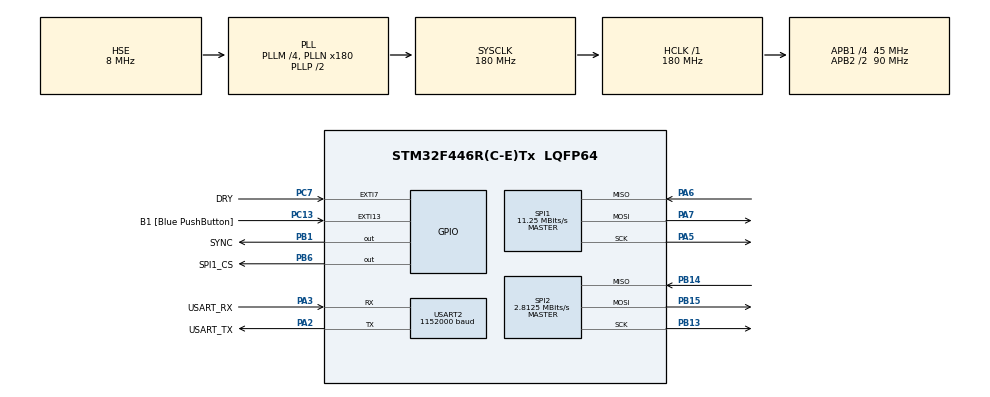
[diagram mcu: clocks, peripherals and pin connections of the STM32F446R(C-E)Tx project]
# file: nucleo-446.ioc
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Dma.Request0=USART2_RX
Dma.Request1=USART2_TX
Dma.USART2_RX.0.Direction=DMA_PERIPH_TO_MEMORY
Dma.USART2_RX.0.FIFOMode=DMA_FIFOMODE_DISABLE
Dma.USART2_RX.0.Instance=DMA1_Stream5
Dma.USART2_RX.0.MemDataAlignment=DMA_MDATAALIGN_BYTE
Dma.USART2_RX.0.MemInc=DMA_MINC_ENABLE
Dma.USART2_RX.0.Mode=DMA_CIRCULAR
Dma.USART2_RX.0.PeriphDataAlignment=DMA_PDATAALIGN_BYTE
Dma.USART2_RX.0.PeriphInc=DMA_PINC_DISABLE
Dma.USART2_RX.0.Priority=DMA_PRIORITY_HIGH
Dma.USART2_TX.1.Direction=DMA_MEMORY_TO_PERIPH
Dma.USART2_TX.1.FIFOMode=DMA_FIFOMODE_DISABLE
Dma.USART2_TX.1.Instance=DMA1_Stream6
Dma.USART2_TX.1.MemDataAlignment=DMA_MDATAALIGN_BYTE
Dma.USART2_TX.1.MemInc=DMA_MINC_ENABLE
Dma.USART2_TX.1.Mode=DMA_NORMAL
Dma.USART2_TX.1.PeriphDataAlignment=DMA_PDATAALIGN_BYTE
Dma.USART2_TX.1.PeriphInc=DMA_PINC_DISABLE
Dma.USART2_TX.1.Priority=DMA_PRIORITY_LOW
Mcu.Family=STM32F4
Mcu.Name=STM32F446R(C-E)Tx
Mcu.Package=LQFP64
NVIC.DMA1_Stream5_IRQn=true\:0\:1\:false\:false\:true\:false\:true\:true
NVIC.DMA1_Stream6_IRQn=true\:0\:2\:false\:false\:true\:false\:true\:true
NVIC.EXTI15_10_IRQn=true\:0\:2\:false\:false\:true\:true\:true\:true
NVIC.EXTI9_5_IRQn=true\:0\:0\:false\:false\:true\:true\:true\:true
NVIC.PriorityGroup=NVIC_PRIORITYGROUP_0
NVIC.TIM3_IRQn=true\:0\:0\:false\:false\:true\:true\:true\:true
NVIC.USART2_IRQn=true\:0\:2\:false\:false\:true\:true\:true\:true
PA13.GPIO_Label=TMS
PA13.Mode=Serial_Wire
PA13.Signal=SYS_JTMS-SWDIO
PA14.GPIO_Label=TCK
PA14.Mode=Serial_Wire
PA14.Signal=SYS_JTCK-SWCLK
PA2.GPIO_Label=USART_TX
PA2.Mode=Asynchronous
PA2.Signal=USART2_TX
PA3.GPIO_Label=USART_RX
PA3.Mode=Asynchronous
PA3.Signal=USART2_RX
PA5.Mode=Full_Duplex_Master
PA5.Signal=SPI1_SCK
PA6.Mode=Full_Duplex_Master
PA6.Signal=SPI1_MISO
PA7.Mode=Full_Duplex_Master
PA7.Signal=SPI1_MOSI
PB1.GPIO_Label=SYNC
PB1.PinState=GPIO_PIN_SET
PB1.Signal=GPIO_Output
PB13.Mode=Full_Duplex_Master
PB13.Signal=SPI2_SCK
PB14.Mode=Full_Duplex_Master
PB14.Signal=SPI2_MISO
PB15.Mode=Full_Duplex_Master
PB15.Signal=SPI2_MOSI
PB3.GPIO_Label=SWO
PB3.Signal=SYS_JTDO-SWO
PB6.GPIO_Label=SPI1_CS
PB6.Signal=GPIO_Output
PC13.GPIO_Label=B1 [Blue PushButton]
PC13.GPIO_ModeDefaultEXTI=GPIO_MODE_IT_FALLING
PC13.Signal=GPXTI13
PC14-OSC32_IN.Mode=LSE-External-Oscillator
PC14-OSC32_IN.Signal=RCC_OSC32_IN
PC15-OSC32_OUT.Mode=LSE-External-Oscillator
PC15-OSC32_OUT.Signal=RCC_OSC32_OUT
PC7.GPIO_Label=DRY
PC7.GPIO_ModeDefaultEXTI=GPIO_MODE_IT_FALLING
PC7.Signal=GPXTI7
PH0-OSC_IN.Mode=HSE-External-Oscillator
PH0-OSC_IN.Signal=RCC_OSC_IN
PH1-OSC_OUT.Mode=HSE-External-Oscillator
PH1-OSC_OUT.Signal=RCC_OSC_OUT
ProjectManager.HeapSize=0x200
ProjectManager.StackSize=0x400
ProjectManager.TargetToolchain=STM32CubeIDE
RCC.48MHZClocksFreq_Value=84000000
RCC.AHBFreq_Value=180000000
RCC.APB1CLKDivider=RCC_HCLK_DIV4
RCC.APB1Freq_Value=45000000
RCC.APB1TimFreq_Value=90000000
RCC.APB2CLKDivider=RCC_HCLK_DIV2
RCC.APB2Freq_Value=90000000
RCC.APB2TimFreq_Value=180000000
RCC.CortexFreq_Value=180000000
RCC.FLatency-AdvancedSettings=FLASH_LATENCY_5
RCC.HCLKFreq_Value=180000000
RCC.HSE_VALUE=8000000
RCC.HSI_VALUE=16000000
RCC.PLLM=4
RCC.PLLN=180
RCC.PLLQ=6
RCC.PLLSAIM=4
RCC.PLLSAIN=96
RCC.PLLSAIP=RCC_PLLSAIP_DIV4
RCC.PLLSourceVirtual=RCC_PLLSOURCE_HSE
RCC.PREFETCH_ENABLE=0
RCC.SYSCLKFreq_VALUE=180000000
RCC.SYSCLKSource=RCC_SYSCLKSOURCE_PLLCLK
RCC.USBCLockSelection=RCC_CLK48CLKSOURCE_PLLSAIP
RCC.USBFreq_Value=48000000
RCC.VCOOutputFreq_Value=360000000
SPI1.BaudRatePrescaler=SPI_BAUDRATEPRESCALER_8
SPI1.CLKPhase=SPI_PHASE_2EDGE
SPI1.CLKPolarity=SPI_POLARITY_HIGH
SPI1.CalculateBaudRate=11.25 MBits/s
SPI1.Direction=SPI_DIRECTION_2LINES
SPI1.Mode=SPI_MODE_MASTER
SPI1.VirtualType=VM_MASTER
SPI2.BaudRatePrescaler=SPI_BAUDRATEPRESCALER_16
SPI2.CLKPhase=SPI_PHASE_2EDGE
SPI2.CalculateBaudRate=2.8125 MBits/s
SPI2.Direction=SPI_DIRECTION_2LINES
SPI2.Mode=SPI_MODE_MASTER
SPI2.VirtualType=VM_MASTER
TIM2.AutoReloadPreload=TIM_AUTORELOAD_PRELOAD_ENABLE
TIM2.Prescaler=90-1
TIM3.AutoReloadPreload=TIM_AUTORELOAD_PRELOAD_ENABLE
TIM3.Period=1000-1
TIM3.Prescaler=90-1
TIM3.TIM_MasterOutputTrigger=TIM_TRGO_UPDATE
USART2.BaudRate=1152000
USART2.Parity=PARITY_NONE
USART2.VirtualMode=VM_ASYNC
VP_TIM2_VS_ClockSourceINT.Mode=Internal
VP_TIM3_VS_ClockSourceINT.Mode=Internal
board=NUCLEO-F446RE

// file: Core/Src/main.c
/* USER CODE BEGIN Header */
/**
  ******************************************************************************
  * @file           : main.c
  * @brief          : Main program body
  ******************************************************************************
  * @attention
  *
  * Copyright (c) 2024 STMicroelectronics.
  * All rights reserved.
  *
  * This software is licensed under terms that can be found in the LICENSE file
  * in the root directory of this software component.
  * If no LICENSE file comes with this software, it is provided AS-IS.
  *
  ******************************************************************************
  */
/* USER CODE END Header */
#include "main.h"

/* USER CODE BEGIN Includes */
#include "ad717x.h"
#include "global.h"
#include "ad411x_regs.h"
/* USER CODE END Includes */

SPI_HandleTypeDef hspi1;
SPI_HandleTypeDef hspi2;

TIM_HandleTypeDef htim2;
TIM_HandleTypeDef htim3;

UART_HandleTypeDef huart2;
DMA_HandleTypeDef hdma_usart2_rx;
DMA_HandleTypeDef hdma_usart2_tx;

/* USER CODE BEGIN PV */
uint8_t uart_buffer[UART_BUFFER_SIZE];
uint8_t tx_buffer[7+7+4*sizeof(uint32_t) * ADC_BUFFER_SIZE] = {0};
uint16_t uart_timeout = 0; // if there is a specific number iterations and no commands applied, reset UART

uint32_t pos_time_buff[ADC_BUFFER_SIZE];
uint32_t pos_buff[ADC_BUFFER_SIZE];
uint32_t pos_window[WINDOW_BUFFER_SIZE];
uint32_t tq_window[WINDOW_BUFFER_SIZE];
uint32_t tq_time_buff[ADC_BUFFER_SIZE];
uint32_t tq_buff[ADC_BUFFER_SIZE];

uint16_t volatile adc_buff_idx = 0;
uint16_t volatile window_buff_idx = 0;
uint32_t adc_channel_offset = 0;
uint8_t volatile ADC_EN = 0;

float DAC_pattern[DAC_PATTERN_SIZE];
uint16_t DAC_length = 0;
uint16_t DAC_idx = 0;;
uint8_t volatile DAC_EN = 0;
uint8_t volatile DAC_last_bulk = 0;

extern ad717x_st_reg ad4111_regs[];

ad717x_dev *pad717x_dev = NULL;
static ad717x_st_reg *ad717x_device_map = ad4111_regs;
static uint8_t ad717x_reg_count = sizeof(ad4111_regs) / sizeof(ad4111_regs[0]);

volatile enum SPI_STATUS spi_status = IDLE;
volatile enum ADC_SM adc_sm = ADC_IDLE;

struct spi_read spi_read_reg = {0,NULL};
struct spi_write spi_write_reg = {{0},0,NULL};
//uint8_t spi_read_reg = 0x00;
// Pointer to the struct representing the AD717x device

float volatile current_pos = 0;
float volatile current_tq = 0;
float volatile init_motor_pos = 0;

// Device setup
/* USER CODE END PV */

void SystemClock_Config(void);
static void MX_GPIO_Init(void);
static void MX_DMA_Init(void);
static void MX_USART2_UART_Init(void);
static void MX_SPI1_Init(void);
static void MX_TIM2_Init(void);
static void MX_SPI2_Init(void);
static void MX_TIM3_Init(void);

int main(void)
{

  /* MCU Configuration--------------------------------------------------------*/

  /* Reset of all peripherals, Initializes the Flash interface and the Systick. */
  HAL_Init();

  /* Configure the system clock */
  SystemClock_Config();

  /* Initialize all configured peripherals */
  MX_GPIO_Init();
  MX_DMA_Init();
  MX_USART2_UART_Init();
  MX_SPI1_Init();
  MX_TIM2_Init();
  MX_SPI2_Init();
  MX_TIM3_Init();
  /* USER CODE BEGIN 2 */
  ad717x_app_initialize();

  ad717x_configure_device_odr(pad717x_dev, 0, sps_10417);
  HAL_Delay(10);
  ad717x_set_adc_mode(pad717x_dev, CONTINUOUS);

  ad717x_set_clock(pad717x_dev, 3);
  union ad717x_analog_inputs AIN_0;
  AIN_0.analog_input_pairs = VIN0_VIN1;
  HAL_Delay(10);
  ad717x_connect_analog_input(pad717x_dev, 0, AIN_0);
  HAL_Delay(10);
  ad717x_assign_setup(pad717x_dev, 0, 0);
  HAL_Delay(10);
  ad717x_set_channel_status(pad717x_dev, 0, 1);

  union ad717x_analog_inputs AIN_2;
  AIN_2.analog_input_pairs = VIN2_VIN3;
  HAL_Delay(10);
  ad717x_connect_analog_input(pad717x_dev, 2, AIN_2);
  HAL_Delay(10);
  ad717x_set_channel_status(pad717x_dev, 2, 1);
  HAL_Delay(10);
  ad717x_assign_setup(pad717x_dev, 2, 0);

  HAL_Delay(10);
  ad717x_set_polarity(pad717x_dev, 1, 0);
  HAL_Delay(10);
  ad717x_set_reference_source(pad717x_dev, EXTERNAL_REF, 0);
  HAL_Delay(10);

  HAL_Delay(10);
  ad717x_enable_input_buffer(pad717x_dev, 1, 0, 0);
  HAL_Delay(10);

  ad717x_set_data_stat(pad717x_dev, true);

  // Initial Message for PC:
  char *init_msg = "{inf,\r\nWelcome to Pourostad Project,end}\r\n";
  HAL_UART_Transmit(PC_UART, (uint8_t*)init_msg, strlen(init_msg), 10);
  HAL_UART_Receive_DMA(PC_UART, uart_buffer, UART_BUFFER_SIZE);
  /* USER CODE END 2 */

  /* Infinite loop */
  /* USER CODE BEGIN WHILE */
  htim2.Instance->CNT = 0;
  HAL_TIM_Base_Start(&htim2);
  HAL_TIM_Base_Start_IT(&htim3);
  dac_init(0); // init DAC for the first time
  while (1)
  {

    /* USER CODE END WHILE */

    /* USER CODE BEGIN 3 */
	  if(uart_buffer[0]!='\0')
	  {
		  check_command();
	  }

  }
  /* USER CODE END 3 */
}

void SystemClock_Config(void)
{
  RCC_OscInitTypeDef RCC_OscInitStruct = {0};
  RCC_ClkInitTypeDef RCC_ClkInitStruct = {0};

  /** Configure the main internal regulator output voltage
  */
  __HAL_RCC_PWR_CLK_ENABLE();
  __HAL_PWR_VOLTAGESCALING_CONFIG(PWR_REGULATOR_VOLTAGE_SCALE1);

  /** Initializes the RCC Oscillators according to the specified parameters
  * in the RCC_OscInitTypeDef structure.
  */
  RCC_OscInitStruct.OscillatorType = RCC_OSCILLATORTYPE_HSE;
  RCC_OscInitStruct.HSEState = RCC_HSE_ON;
  RCC_OscInitStruct.PLL.PLLState = RCC_PLL_ON;
  RCC_OscInitStruct.PLL.PLLSource = RCC_PLLSOURCE_HSE;
  RCC_OscInitStruct.PLL.PLLM = 4;
  RCC_OscInitStruct.PLL.PLLN = 180;
  RCC_OscInitStruct.PLL.PLLP = RCC_PLLP_DIV2;
  RCC_OscInitStruct.PLL.PLLQ = 6;
  RCC_OscInitStruct.PLL.PLLR = 2;
  if (HAL_RCC_OscConfig(&RCC_OscInitStruct) != HAL_OK)
  {
    Error_Handler();
  }

  /** Activate the Over-Drive mode
  */
  if (HAL_PWREx_EnableOverDrive() != HAL_OK)
  {
    Error_Handler();
  }

  /** Initializes the CPU, AHB and APB buses clocks
  */
  RCC_ClkInitStruct.ClockType = RCC_CLOCKTYPE_HCLK|RCC_CLOCKTYPE_SYSCLK
                              |RCC_CLOCKTYPE_PCLK1|RCC_CLOCKTYPE_PCLK2;
  RCC_ClkInitStruct.SYSCLKSource = RCC_SYSCLKSOURCE_PLLCLK;
  RCC_ClkInitStruct.AHBCLKDivider = RCC_SYSCLK_DIV1;
  RCC_ClkInitStruct.APB1CLKDivider = RCC_HCLK_DIV4;
  RCC_ClkInitStruct.APB2CLKDivider = RCC_HCLK_DIV2;

  if (HAL_RCC_ClockConfig(&RCC_ClkInitStruct, FLASH_LATENCY_5) != HAL_OK)
  {
    Error_Handler();
  }
}

static void MX_SPI1_Init(void)
{

  /* SPI1 parameter configuration*/
  hspi1.Instance = SPI1;
  hspi1.Init.Mode = SPI_MODE_MASTER;
  hspi1.Init.Direction = SPI_DIRECTION_2LINES;
  hspi1.Init.DataSize = SPI_DATASIZE_8BIT;
  hspi1.Init.CLKPolarity = SPI_POLARITY_HIGH;
  hspi1.Init.CLKPhase = SPI_PHASE_2EDGE;
  hspi1.Init.NSS = SPI_NSS_SOFT;
  hspi1.Init.BaudRatePrescaler = SPI_BAUDRATEPRESCALER_8;
  hspi1.Init.FirstBit = SPI_FIRSTBIT_MSB;
  hspi1.Init.TIMode = SPI_TIMODE_DISABLE;
  hspi1.Init.CRCCalculation = SPI_CRCCALCULATION_DISABLE;
  hspi1.Init.CRCPolynomial = 10;
  if (HAL_SPI_Init(&hspi1) != HAL_OK)
  {
    Error_Handler();
  }

}

static void MX_SPI2_Init(void)
{

  /* SPI2 parameter configuration*/
  hspi2.Instance = SPI2;
  hspi2.Init.Mode = SPI_MODE_MASTER;
  hspi2.Init.Direction = SPI_DIRECTION_2LINES;
  hspi2.Init.DataSize = SPI_DATASIZE_8BIT;
  hspi2.Init.CLKPolarity = SPI_POLARITY_LOW;
  hspi2.Init.CLKPhase = SPI_PHASE_2EDGE;
  hspi2.Init.NSS = SPI_NSS_SOFT;
  hspi2.Init.BaudRatePrescaler = SPI_BAUDRATEPRESCALER_16;
  hspi2.Init.FirstBit = SPI_FIRSTBIT_MSB;
  hspi2.Init.TIMode = SPI_TIMODE_DISABLE;
  hspi2.Init.CRCCalculation = SPI_CRCCALCULATION_DISABLE;
  hspi2.Init.CRCPolynomial = 10;
  if (HAL_SPI_Init(&hspi2) != HAL_OK)
  {
    Error_Handler();
  }

}

static void MX_TIM2_Init(void)
{

  TIM_ClockConfigTypeDef sClockSourceConfig = {0};
  TIM_MasterConfigTypeDef sMasterConfig = {0};

  htim2.Instance = TIM2;
  htim2.Init.Prescaler = 90-1;
  htim2.Init.CounterMode = TIM_COUNTERMODE_UP;
  htim2.Init.Period = 4294967295;
  htim2.Init.ClockDivision = TIM_CLOCKDIVISION_DIV1;
  htim2.Init.AutoReloadPreload = TIM_AUTORELOAD_PRELOAD_ENABLE;
  if (HAL_TIM_Base_Init(&htim2) != HAL_OK)
  {
    Error_Handler();
  }
  sClockSourceConfig.ClockSource = TIM_CLOCKSOURCE_INTERNAL;
  if (HAL_TIM_ConfigClockSource(&htim2, &sClockSourceConfig) != HAL_OK)
  {
    Error_Handler();
  }
  sMasterConfig.MasterOutputTrigger = TIM_TRGO_RESET;
  sMasterConfig.MasterSlaveMode = TIM_MASTERSLAVEMODE_DISABLE;
  if (HAL_TIMEx_MasterConfigSynchronization(&htim2, &sMasterConfig) != HAL_OK)
  {
    Error_Handler();
  }

}

static void MX_TIM3_Init(void)
{

  TIM_ClockConfigTypeDef sClockSourceConfig = {0};
  TIM_MasterConfigTypeDef sMasterConfig = {0};

  htim3.Instance = TIM3;
  htim3.Init.Prescaler = 90-1;
  htim3.Init.CounterMode = TIM_COUNTERMODE_UP;
  htim3.Init.Period = 1000-1;
  htim3.Init.ClockDivision = TIM_CLOCKDIVISION_DIV1;
  htim3.Init.AutoReloadPreload = TIM_AUTORELOAD_PRELOAD_ENABLE;
  if (HAL_TIM_Base_Init(&htim3) != HAL_OK)
  {
    Error_Handler();
  }
  sClockSourceConfig.ClockSource = TIM_CLOCKSOURCE_INTERNAL;
  if (HAL_TIM_ConfigClockSource(&htim3, &sClockSourceConfig) != HAL_OK)
  {
    Error_Handler();
  }
  sMasterConfig.MasterOutputTrigger = TIM_TRGO_UPDATE;
  sMasterConfig.MasterSlaveMode = TIM_MASTERSLAVEMODE_DISABLE;
  if (HAL_TIMEx_MasterConfigSynchronization(&htim3, &sMasterConfig) != HAL_OK)
  {
    Error_Handler();
  }

}

static void MX_USART2_UART_Init(void)
{

  huart2.Instance = USART2;
  huart2.Init.BaudRate = 1152000;
  huart2.Init.WordLength = UART_WORDLENGTH_8B;
  huart2.Init.StopBits = UART_STOPBITS_1;
  huart2.Init.Parity = UART_PARITY_NONE;
  huart2.Init.Mode = UART_MODE_TX_RX;
  huart2.Init.HwFlowCtl = UART_HWCONTROL_NONE;
  huart2.Init.OverSampling = UART_OVERSAMPLING_16;
  if (HAL_UART_Init(&huart2) != HAL_OK)
  {
    Error_Handler();
  }

}

static void MX_DMA_Init(void)
{

  /* DMA controller clock enable */
  __HAL_RCC_DMA1_CLK_ENABLE();

  /* DMA interrupt init */
  /* DMA1_Stream5_IRQn interrupt configuration */
  HAL_NVIC_SetPriority(DMA1_Stream5_IRQn, 0, 1);
  HAL_NVIC_EnableIRQ(DMA1_Stream5_IRQn);
  /* DMA1_Stream6_IRQn interrupt configuration */
  HAL_NVIC_SetPriority(DMA1_Stream6_IRQn, 0, 2);
  HAL_NVIC_EnableIRQ(DMA1_Stream6_IRQn);

}

static void MX_GPIO_Init(void)
{
  GPIO_InitTypeDef GPIO_InitStruct = {0};

  /* GPIO Ports Clock Enable */
  __HAL_RCC_GPIOC_CLK_ENABLE();
  __HAL_RCC_GPIOH_CLK_ENABLE();
  __HAL_RCC_GPIOA_CLK_ENABLE();
  __HAL_RCC_GPIOB_CLK_ENABLE();

  /*Configure GPIO pin Output Level */
  HAL_GPIO_WritePin(SYNC_GPIO_Port, SYNC_Pin, GPIO_PIN_SET);

  /*Configure GPIO pin Output Level */
  HAL_GPIO_WritePin(SPI1_CS_GPIO_Port, SPI1_CS_Pin, GPIO_PIN_RESET);

  /*Configure GPIO pins : B1_Pin DRY_Pin */
  GPIO_InitStruct.Pin = B1_Pin|DRY_Pin;
  GPIO_InitStruct.Mode = GPIO_MODE_IT_FALLING;
  GPIO_InitStruct.Pull = GPIO_NOPULL;
  HAL_GPIO_Init(GPIOC, &GPIO_InitStruct);

  /*Configure GPIO pins : SYNC_Pin SPI1_CS_Pin */
  GPIO_InitStruct.Pin = SYNC_Pin|SPI1_CS_Pin;
  GPIO_InitStruct.Mode = GPIO_MODE_OUTPUT_PP;
  GPIO_InitStruct.Pull = GPIO_NOPULL;
  GPIO_InitStruct.Speed = GPIO_SPEED_FREQ_LOW;
  HAL_GPIO_Init(GPIOB, &GPIO_InitStruct);

  /* EXTI interrupt init*/
  HAL_NVIC_SetPriority(EXTI9_5_IRQn, 0, 0);
  HAL_NVIC_EnableIRQ(EXTI9_5_IRQn);

  HAL_NVIC_SetPriority(EXTI15_10_IRQn, 0, 2);
  HAL_NVIC_EnableIRQ(EXTI15_10_IRQn);

}

/* USER CODE BEGIN 4 */
int32_t ad717x_app_initialize(void)
{
	// Used to create the ad717x device
	ad717x_init_param ad717x_init = {
		0,
		ad717x_device_map,		// pointer to device register map
		ad717x_reg_count,		// number of device registers
		ID_AD4115,				// Active Device
		1,						// Reference Enable
		16,						// Channel Number
		8,						// Setup Number

	};

	// Initialze the device
	return (AD717X_Init(&pad717x_dev, ad717x_init));
}

void HAL_GPIO_EXTI_Callback(uint16_t GPIO_Pin)
{
  if(GPIO_Pin == DRY_Pin) {
	  adc_channel_offset++;
	  if(spi_status == READING)
	  {
//		  uint8_t Tx = 0x40;
		  uint8_t Rx[8] = {0};
//		  Rx[0] = 0x40;
//		  HAL_SPI_TransmitReceive(SPI, &Tx, Rx, 2, 10);
//		  HAL_SPI_Receive(SPI, Rx, 1, 100);
//		  adc_channel_offset = Rx[0] & 0x0f;

			ad717x_st_reg *pReg = (ad717x_st_reg*)spi_read_reg.pReg;
//			uint8_t Rx[8] = {0};
			HAL_SPI_Transmit(SPI, &spi_read_reg.Tx, 1, 100);

			HAL_SPI_Receive(SPI, Rx, pReg->size, 100);

			pReg->value = 0;
			int data_size = pReg->size;
			if(pReg->addr == 0x04)
				data_size = 3;
			for(int i = 0; i < data_size; i++) {
				pReg->value <<= 8;
				pReg->value += Rx[i];
			}
		  	spi_status = IDLE;
		  	if(pReg->addr == 0x04) //if it is read data
		  	{

		  		if(adc_sm == ADC_IDLE)
		  		{
		  			float data = (((float) pReg->value / (1<<23))-1) * 25;
					char hexString[24];
					sprintf(hexString, "{inf,\r\n%u %.4f,end}", Rx[3], data);
					send_string(hexString);
		  		}
		  		else
		  		{
		  			adc_channel_offset = Rx[3];
		  			adc_to_buf(pReg->value);
		  			adc_sm = ADC_IDLE;
		  			spi_status = SENDING;
		  		}

		  	}
		  	else
		  	{
				char hexString[24];  // Buffer to store "0x" + 4 hex digits + null terminator
				sprintf(hexString, "{inf,\r\n0x%04x,end}\r\n", (unsigned int)pReg->value);  // Format as hex string with "0x" prefix
				send_string(hexString);
		  	}
	  }
	  else if(spi_status == WRITING)
	  {
		  ad717x_st_reg *pReg = (ad717x_st_reg*)spi_write_reg.pReg;
		  HAL_SPI_Transmit(SPI, spi_write_reg.Tx, pReg->size + 1, 100);

		  send_string("{inf,\r\nwrite done,end}\r\n");
		  spi_status = IDLE;
		  AD717X_ReadRegister(pad717x_dev, pReg->addr);
	  }
	  else if(spi_status == TRIGGER)
	  {
		spi_status = READING;
	  }
	  else if (spi_status == GETID)
	  {
		uint8_t Tx = 0x47;
		uint8_t Rx[2] = {0};
		HAL_SPI_Transmit(SPI, &Tx, 1, 10);
		HAL_SPI_Receive(SPI, Rx, 2, 100);
		uint16_t receivedData = (Rx[0] << 8) | Rx[1];
		char hexString[22];  // Buffer to store "0x" + 4 hex digits + null terminator
		sprintf(hexString, "{inf,\r\n0x%04x,end}\r\n", receivedData);  // Format as hex string with "0x" prefix
		send_string(hexString);
		spi_status = IDLE;
	  }
	  else if(spi_status == SENDING)
	  {
		  adc_sm = ADC_READING;
		  AD717X_ReadRegister(pad717x_dev, 4);

	  }
	  else if(spi_status == CHANNEL_OFFSET)
	  {
		  uint8_t Tx = 0x40;
		  uint8_t Rx[2] = {0};
		  HAL_SPI_Transmit(SPI, &Tx, 1, 10);
		  HAL_SPI_Receive(SPI, Rx, 2, 100);
		  adc_channel_offset = Rx[1];
		  spi_status = SENDING;
	  }
  } else {
      __NOP();
  }
}

void delay_us(uint32_t us)
{
	uint32_t t_start = htim2.Instance->CNT;
	while(htim2.Instance->CNT - t_start < us);
}

void dac_readreg(uint8_t addr)
{
	uint8_t Tx[3] = {addr,0,0};
	uint8_t Rx[3] = {0};
	HAL_GPIO_WritePin(SYNC_GPIO_Port, SYNC_Pin, GPIO_PIN_RESET);
	HAL_SPI_Transmit(&hspi2, Tx, 3, 100);
//	delay_us(2);
	HAL_GPIO_WritePin(SYNC_GPIO_Port, SYNC_Pin, GPIO_PIN_SET);
	delay_us(2);
	HAL_GPIO_WritePin(SYNC_GPIO_Port, SYNC_Pin, GPIO_PIN_RESET);
	HAL_SPI_Receive(&hspi2, Rx, 3, 100);
//	delay_us(2);
	HAL_GPIO_WritePin(SYNC_GPIO_Port, SYNC_Pin, GPIO_PIN_SET);

	char hexString[35];  // Buffer to store "0x" + 4 hex digits + null terminator
	sprintf(hexString, "{inf,\r\ndac,0x%02x%02x%02x,end}\r\n", Rx[0], Rx[1], Rx[2]);  // Format as hex string with "0x" prefix
	send_string(hexString);
//	HAL_UART_Transmit(PC_UART,Rx,3,10);
//	pReg->value = 0;
//	for(int i = 0; i < pReg->size; i++) {
//		pReg->value <<= 8;
//		pReg->value += Rx[i];
//	}
}

void dac_writereg(uint8_t addr, uint16_t value)
{
	uint8_t Tx[3] = {addr,(value & 0xFF00) >> 8, (value & 0x00FF) >> 0};
	HAL_GPIO_WritePin(SYNC_GPIO_Port, SYNC_Pin, GPIO_PIN_RESET);
	HAL_SPI_Transmit(&hspi2, Tx, 3, 100);
	HAL_GPIO_WritePin(SYNC_GPIO_Port, SYNC_Pin, GPIO_PIN_SET);
//	HAL_Delay(1);
//	HAL_GPIO_WritePin(SYNC_GPIO_Port, SYNC_Pin, GPIO_PIN_RESET);
//	HAL_SPI_Receive(&hspi2, Rx, 3, 100);
////	delay_us(2);
//	HAL_GPIO_WritePin(SYNC_GPIO_Port, SYNC_Pin, GPIO_PIN_SET);
//
//	HAL_UART_Transmit(PC_UART,Rx,3,10);
//	pReg->value = 0;
//	for(int i = 0; i < pReg->size; i++) {
//		pReg->value <<= 8;
//		pReg->value += Rx[i];
//	}
}

void HAL_UART_TxCpltCallback(UART_HandleTypeDef *huart)
{

}

void HAL_TIM_PeriodElapsedCallback(TIM_HandleTypeDef *htim)
{
	if(htim->Instance == TIM3)
	{
		if(ADC_EN)
			adc_window();
		if(DAC_EN)
		{
			if(DAC_idx >= DAC_length)
			{
				DAC_last_bulk = 1; // It should be in state machine and in next data sending, we send end pattern, also;

				return;
			}
			dac_update(DAC_pattern[DAC_idx++]);
		}
//		else
//			dac_update(init_motor_pos);
	}
}
/* USER CODE END 4 */

void Error_Handler(void)
{
  __disable_irq();
  while (1)
  {
  }
}
